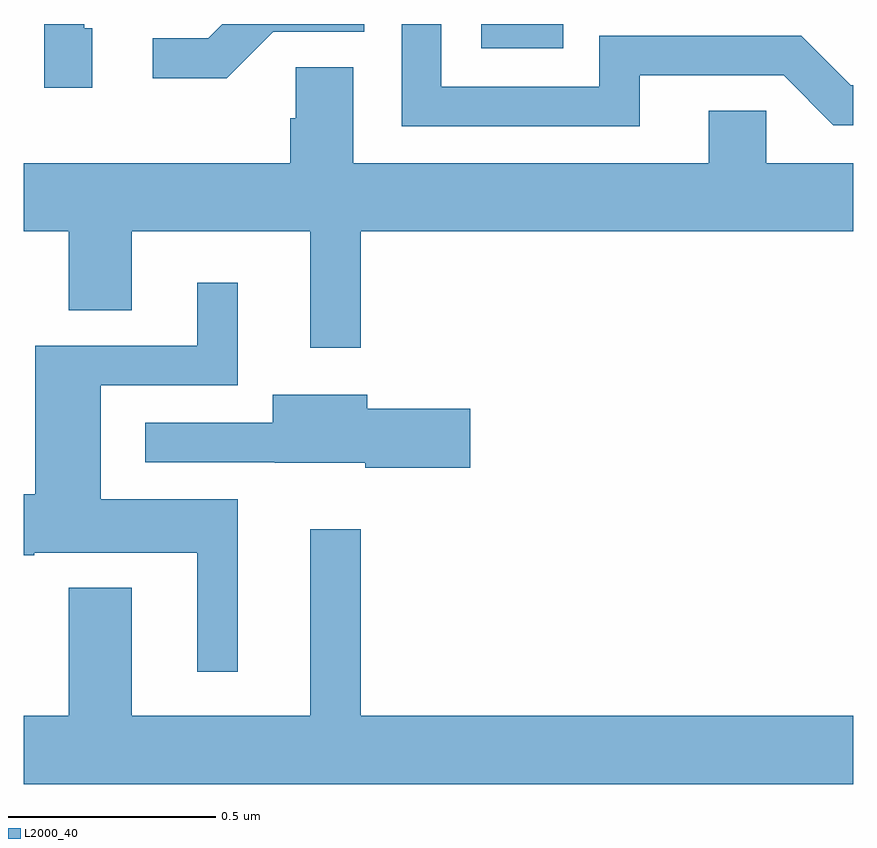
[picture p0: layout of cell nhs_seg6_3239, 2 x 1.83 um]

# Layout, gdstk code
import gdstk
lib = gdstk.Library(unit=1e-6, precision=1e-09)
def R(c, l, rs):  # rectangles x0, y0, x1, y1
    for r in rs: c.add(gdstk.rectangle(r[:2], r[2:], *l))
def P(c, l, *ps):  # polygons
    for p in ps: c.add(gdstk.Polygon(p, *l))
L2000_40 = (2000, 40)

nhs_seg6_3239 = lib.new_cell('nhs_seg6_3239')
R(nhs_seg6_3239, L2000_40, [(155.103,950.441,155.301,950.5)])
P(nhs_seg6_3239, L2000_40, [(154.602,950.481),(154.821,950.481),(154.821,950.5),(154.479,950.5),(154.445,950.466),(154.311,950.466),(154.311,950.369),(154.489,950.369)],
  [(154.165,950.49),(154.146,950.49),(154.146,950.5),(154.05,950.5),(154.05,950.346),(154.165,950.346)],
  [(155.485,950.376),(155.832,950.376),(155.952,950.256),(156,950.256),(156,950.352),(155.994,950.352),(155.874,950.472),(155.388,950.472),(155.388,950.349),(155.007,950.349),(155.007,950.5),(154.911,950.5),(154.911,950.253),(155.485,950.253)],
  [(154.813,950),(156,950),(156,950.164),(155.79,950.164),(155.79,950.291),(155.651,950.291),(155.651,950.164),(154.795,950.164),(154.795,950.396),(154.656,950.396),(154.656,950.273),(154.643,950.273),(154.643,950.164),(154,950.164),(154,950),(154.109,950),(154.109,949.81),(154.261,949.81),(154.261,950),(154.691,950),(154.691,949.719),(154.813,949.719)],
  [(154.516,949.354),(154.186,949.354),(154.186,949.629),(154.516,949.629),(154.516,949.876),(154.418,949.876),(154.418,949.725),(154.028,949.725),(154.028,949.367),(154,949.367),(154,949.219),(154.025,949.219),(154.025,949.226),(154.418,949.226),(154.418,948.939),(154.516,948.939)],
  [(155.077,949.572),(154.828,949.572),(154.828,949.606),(154.601,949.606),(154.601,949.539),(154.293,949.539),(154.293,949.443),(154.605,949.443),(154.605,949.442),(154.824,949.442),(154.824,949.43),(155.077,949.43)],
  [(156,948.832),(154.813,948.832),(154.813,949.282),(154.691,949.282),(154.691,948.832),(154.261,948.832),(154.261,949.141),(154.109,949.141),(154.109,948.832),(154,948.832),(154,948.668),(156,948.668)])

lib.write_gds('nhs_seg6_3239.gds')
